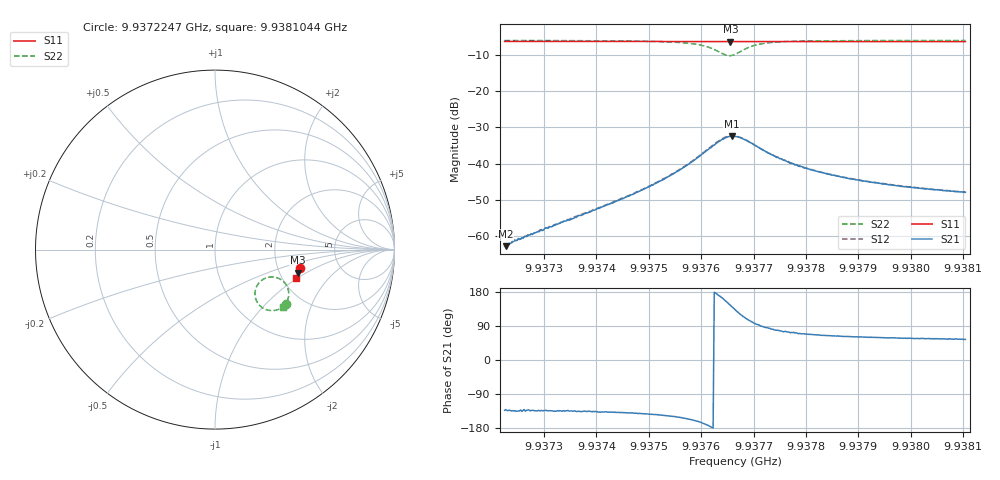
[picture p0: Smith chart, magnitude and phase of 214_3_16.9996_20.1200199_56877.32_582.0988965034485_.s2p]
#  HZ  S  RI  R  50.00
! Rohde & Schwarz Vector Network Analyzer
! Rohde-Schwarz,ZNB20-2Port,1311601062101988,3.16
! Created: UTC 3/20/2024, 11:01:42 PM
! freq[Hz]  re:S11  im:S11  re:S21  im:S21  re:S12  im:S12  re:S22  im:S22
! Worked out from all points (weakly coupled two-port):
!   401 points, 9.9372247 GHz to 9.9381044 GHz, reference 50 ohm
!   highest |S21| = -32.41 dB at 9.937658 GHz (marker M1); lowest = -62.7 dB at 9.9372269 GHz (marker M2)
!   lowest |S11| = -6.4 dB at 9.9376558 GHz (marker M3), VSWR 2.84, Z = 126 - j42.1 ohm
!   |S11| at or under -10 dB: nowhere
!   |S22| runs from -10.2 to -6.1 dB; largest |S21 - S12| = 0.0011
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9.93722473e9  0.4731 -0.1017  -0.000503 -0.000547  -0.000524 -0.000533  0.3931 -0.3057
9.93722693e9  0.4729 -0.1018  -0.000479 -0.000554  -0.000499 -0.000566  0.393 -0.3059
9.93724672e9  0.4726 -0.1033  -0.000622 -0.000617  -0.000605 -0.000613  0.3911 -0.3074
9.93737208e9  0.47 -0.1117  -0.00141 -0.00136  -0.00148 -0.00137  0.3782 -0.3187
9.93745565e9  0.468 -0.1174  -0.00262 -0.00226  -0.00266 -0.00225  0.3637 -0.3282
9.93751943e9  0.4667 -0.1218  -0.00462 -0.00327  -0.00476 -0.00323  0.3432 -0.3365
9.93756782e9  0.4653 -0.1252  -0.00805 -0.00401  -0.0083 -0.00396  0.3124 -0.3399
9.9376074e9  0.4637 -0.1278  -0.0143 -0.0027  -0.0146 -0.00258  0.2627 -0.323
9.93763599e9  0.4623 -0.1287  -0.0201 0.00417  -0.0206 0.00488  0.2237 -0.2585
9.93764699e9  0.4617 -0.1289  -0.0208 0.00939  -0.0209 0.0104  0.2276 -0.2166
9.93765579e9  0.4615 -0.129  -0.0194 0.0138  -0.0192 0.0148  0.2461 -0.1842
9.93765799e9  0.4616 -0.129  -0.0188 0.0149  -0.0186 0.0158  0.2527 -0.1776
9.93766458e9  0.4616 -0.1289  -0.0162 0.0173  -0.0159 0.0181  0.2759 -0.1614
9.93767558e9  0.4618 -0.1294  -0.0112 0.0198  -0.0107 0.0202  0.3184 -0.1523
9.93769098e9  0.4623 -0.1302  -0.00523 0.0194  -0.00468 0.0195  0.3651 -0.1655
9.93771517e9  0.4624 -0.1322  0.000186 0.0159  0.000633 0.0159  0.4001 -0.2023
9.93773936e9  0.4622 -0.134  0.00233 0.0125  0.00246 0.0127  0.4099 -0.2317
9.93776575e9  0.4618 -0.1359  0.00294 0.0101  0.00327 0.0102  0.411 -0.2533
9.93781194e9  0.4608 -0.1392  0.00317 0.00757  0.00335 0.00754  0.4068 -0.2762
9.93788451e9  0.459 -0.1442  0.00294 0.00544  0.00306 0.00547  0.3983 -0.2957
9.93795929e9  0.4571 -0.1494  0.00269 0.00435  0.00279 0.00441  0.3911 -0.3076
9.93810444e9  0.4534 -0.1588  0.00236 0.00328  0.00243 0.00329  0.3796 -0.3224
